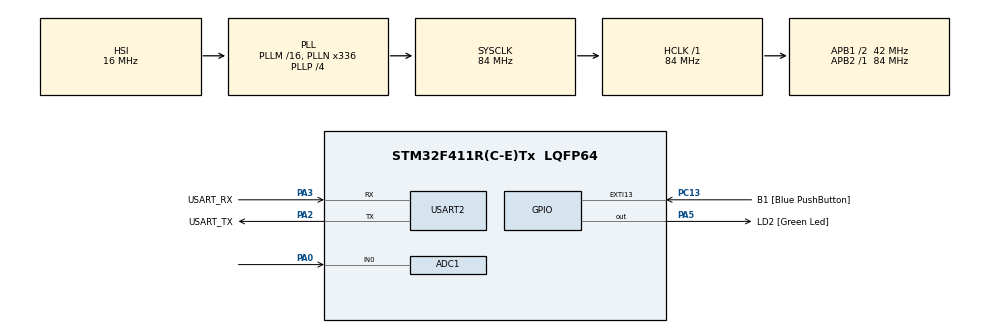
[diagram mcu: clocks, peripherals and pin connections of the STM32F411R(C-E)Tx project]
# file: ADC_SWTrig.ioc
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ADC1.Channel-0\#ChannelRegularConversion=ADC_CHANNEL_0
ADC1.NbrOfConversionFlag=1
ADC1.Rank-0\#ChannelRegularConversion=1
ADC1.SamplingTime-0\#ChannelRegularConversion=ADC_SAMPLETIME_3CYCLES
ADC1.master=1
Mcu.Family=STM32F4
Mcu.Name=STM32F411R(C-E)Tx
Mcu.Package=LQFP64
NVIC.PriorityGroup=NVIC_PRIORITYGROUP_0
NVIC.TIM3_IRQn=true\:0\:0\:false\:false\:true
PA0-WKUP.Signal=ADCx_IN0
PA13.GPIO_Label=TMS
PA13.Signal=SYS_JTMS-SWDIO
PA14.GPIO_Label=TCK
PA14.Signal=SYS_JTCK-SWCLK
PA2.GPIO_Label=USART_TX
PA2.Mode=Asynchronous
PA2.Signal=USART2_TX
PA3.GPIO_Label=USART_RX
PA3.Mode=Asynchronous
PA3.Signal=USART2_RX
PA5.GPIO_Label=LD2 [Green Led]
PA5.Signal=GPIO_Output
PB3.GPIO_Label=SWO
PB3.Signal=SYS_JTDO-SWO
PC13-ANTI_TAMP.GPIO_Label=B1 [Blue PushButton]
PC13-ANTI_TAMP.GPIO_ModeDefaultEXTI=GPIO_MODE_IT_FALLING
PC13-ANTI_TAMP.Signal=GPXTI13
PC14-OSC32_IN.Signal=RCC_OSC32_IN
PC15-OSC32_OUT.Signal=RCC_OSC32_OUT
PH0\ -\ OSC_IN.Signal=RCC_OSC_IN
PH1\ -\ OSC_OUT.Signal=RCC_OSC_OUT
ProjectManager.HeapSize=0x200
ProjectManager.StackSize=0x400
ProjectManager.TargetToolchain=SW4STM32
RCC.48MHZClocksFreq_Value=84000000
RCC.AHBFreq_Value=84000000
RCC.APB1CLKDivider=RCC_HCLK_DIV2
RCC.APB1Freq_Value=42000000
RCC.APB1TimFreq_Value=84000000
RCC.APB2Freq_Value=84000000
RCC.APB2TimFreq_Value=84000000
RCC.CortexFreq_Value=84000000
RCC.FLatency-AdvancedSettings=FLASH_LATENCY_2
RCC.HCLKFreq_Value=84000000
RCC.HSE_VALUE=8000000
RCC.HSI_VALUE=16000000
RCC.LSE_VALUE=32768
RCC.PLLN=336
RCC.PLLP=RCC_PLLP_DIV4
RCC.SYSCLKFreq_VALUE=84000000
RCC.SYSCLKSource=RCC_SYSCLKSOURCE_PLLCLK
RCC.VCOOutputFreq_Value=336000000
SH.ADCx_IN0.0=ADC1_IN0,IN0
TIM3.Period=999
TIM3.Prescaler=8399
VP_TIM3_VS_ClockSourceINT.Mode=Internal
board=NUCLEO-F411RE

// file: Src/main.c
/**
 @file main.c
 @brief Exemplo de uso adc com disparo por software
 @author Marcos Zuccolotto
 @date march,2017
 @version 1.0

Programa utiliza conversao ad por pooling disparada por software

  */
#include "main.h"
#include "stm32f4xx_hal.h"

/* USER CODE BEGIN Includes */
//! Tempo de espera pela conversao ad
#define ADC_TIMEOUT 100
//! tempo de espera da serial
#define SERIAL_TIMEOUT 100
//! Tamanho do buffer de transmissao serial
#define MSG_LENGHT 50

/* USER CODE END Includes */

ADC_HandleTypeDef hadc1;

TIM_HandleTypeDef htim3;

UART_HandleTypeDef huart2;

/* USER CODE BEGIN PV */
/* Private variables ---------------------------------------------------------*/
//! Buffer transmissao serial
uint8_t msg[MSG_LENGHT];
//! Valor de conversao AD
int32_t adcvalue;

//! Pooling do ADC
HAL_StatusTypeDef adstatus;

/* USER CODE END PV */

void SystemClock_Config(void);
void Error_Handler(void);
static void MX_GPIO_Init(void);
static void MX_ADC1_Init(void);
static void MX_TIM3_Init(void);
static void MX_USART2_UART_Init(void);

/* USER CODE BEGIN PFP */
/* Private function prototypes -----------------------------------------------*/

/* USER CODE END PFP */

int main(void)
{

  /* MCU Configuration----------------------------------------------------------*/

  /* Reset of all peripherals, Initializes the Flash interface and the Systick. */
  HAL_Init();

  /* Configure the system clock */
  SystemClock_Config();

  /* Initialize all configured peripherals */
  MX_GPIO_Init();
  MX_ADC1_Init();
  MX_TIM3_Init();
  MX_USART2_UART_Init();

  /* USER CODE BEGIN 2 */
  HAL_TIM_Base_Start_IT(&htim3);

  sprintf(msg,"Exemplo uso ADC com disparo por software \n\r");
  HAL_UART_Transmit(&huart2, msg, strlen(msg),SERIAL_TIMEOUT);

  /* USER CODE END 2 */

  /* Infinite loop */
  while (1)
  {

  /* USER CODE BEGIN 3 */

	  adstatus = HAL_ADC_PollForConversion(&hadc1, ADC_TIMEOUT);
	  if (adstatus==HAL_OK)
	  	  {
		  adcvalue= HAL_ADC_GetValue(&hadc1);
		  sprintf(msg,"%d",adcvalue);
		  HAL_UART_Transmit(&huart2, msg, strlen(msg),SERIAL_TIMEOUT);
	   }

  }
  /* USER CODE END 3 */

}

/** System Clock Configuration
*/
void SystemClock_Config(void)
{

  RCC_OscInitTypeDef RCC_OscInitStruct;
  RCC_ClkInitTypeDef RCC_ClkInitStruct;

    /**Configure the main internal regulator output voltage
    */
  __HAL_RCC_PWR_CLK_ENABLE();

  __HAL_PWR_VOLTAGESCALING_CONFIG(PWR_REGULATOR_VOLTAGE_SCALE1);

    /**Initializes the CPU, AHB and APB busses clocks
    */
  RCC_OscInitStruct.OscillatorType = RCC_OSCILLATORTYPE_HSI;
  RCC_OscInitStruct.HSIState = RCC_HSI_ON;
  RCC_OscInitStruct.HSICalibrationValue = 16;
  RCC_OscInitStruct.PLL.PLLState = RCC_PLL_ON;
  RCC_OscInitStruct.PLL.PLLSource = RCC_PLLSOURCE_HSI;
  RCC_OscInitStruct.PLL.PLLM = 16;
  RCC_OscInitStruct.PLL.PLLN = 336;
  RCC_OscInitStruct.PLL.PLLP = RCC_PLLP_DIV4;
  RCC_OscInitStruct.PLL.PLLQ = 4;
  if (HAL_RCC_OscConfig(&RCC_OscInitStruct) != HAL_OK)
  {
    Error_Handler();
  }

    /**Initializes the CPU, AHB and APB busses clocks
    */
  RCC_ClkInitStruct.ClockType = RCC_CLOCKTYPE_HCLK|RCC_CLOCKTYPE_SYSCLK
                              |RCC_CLOCKTYPE_PCLK1|RCC_CLOCKTYPE_PCLK2;
  RCC_ClkInitStruct.SYSCLKSource = RCC_SYSCLKSOURCE_PLLCLK;
  RCC_ClkInitStruct.AHBCLKDivider = RCC_SYSCLK_DIV1;
  RCC_ClkInitStruct.APB1CLKDivider = RCC_HCLK_DIV2;
  RCC_ClkInitStruct.APB2CLKDivider = RCC_HCLK_DIV1;

  if (HAL_RCC_ClockConfig(&RCC_ClkInitStruct, FLASH_LATENCY_2) != HAL_OK)
  {
    Error_Handler();
  }

    /**Configure the Systick interrupt time
    */
  HAL_SYSTICK_Config(HAL_RCC_GetHCLKFreq()/1000);

    /**Configure the Systick
    */
  HAL_SYSTICK_CLKSourceConfig(SYSTICK_CLKSOURCE_HCLK);

  /* SysTick_IRQn interrupt configuration */
  HAL_NVIC_SetPriority(SysTick_IRQn, 0, 0);
}

/* ADC1 init function */
static void MX_ADC1_Init(void)
{

  ADC_ChannelConfTypeDef sConfig;

    /**Configure the global features of the ADC (Clock, Resolution, Data Alignment and number of conversion)
    */
  hadc1.Instance = ADC1;
  hadc1.Init.ClockPrescaler = ADC_CLOCK_SYNC_PCLK_DIV4;
  hadc1.Init.Resolution = ADC_RESOLUTION_12B;
  hadc1.Init.ScanConvMode = DISABLE;
  hadc1.Init.ContinuousConvMode = DISABLE;
  hadc1.Init.DiscontinuousConvMode = DISABLE;
  hadc1.Init.ExternalTrigConvEdge = ADC_EXTERNALTRIGCONVEDGE_NONE;
  hadc1.Init.ExternalTrigConv = ADC_SOFTWARE_START;
  hadc1.Init.DataAlign = ADC_DATAALIGN_RIGHT;
  hadc1.Init.NbrOfConversion = 1;
  hadc1.Init.DMAContinuousRequests = DISABLE;
  hadc1.Init.EOCSelection = ADC_EOC_SINGLE_CONV;
  if (HAL_ADC_Init(&hadc1) != HAL_OK)
  {
    Error_Handler();
  }

    /**Configure for the selected ADC regular channel its corresponding rank in the sequencer and its sample time.
    */
  sConfig.Channel = ADC_CHANNEL_0;
  sConfig.Rank = 1;
  sConfig.SamplingTime = ADC_SAMPLETIME_3CYCLES;
  if (HAL_ADC_ConfigChannel(&hadc1, &sConfig) != HAL_OK)
  {
    Error_Handler();
  }

}

/* TIM3 init function */
static void MX_TIM3_Init(void)
{

  TIM_ClockConfigTypeDef sClockSourceConfig;
  TIM_MasterConfigTypeDef sMasterConfig;

  htim3.Instance = TIM3;
  htim3.Init.Prescaler = 8399;
  htim3.Init.CounterMode = TIM_COUNTERMODE_UP;
  htim3.Init.Period = 3999;
  htim3.Init.ClockDivision = TIM_CLOCKDIVISION_DIV1;
  if (HAL_TIM_Base_Init(&htim3) != HAL_OK)
  {
    Error_Handler();
  }

  sClockSourceConfig.ClockSource = TIM_CLOCKSOURCE_INTERNAL;
  if (HAL_TIM_ConfigClockSource(&htim3, &sClockSourceConfig) != HAL_OK)
  {
    Error_Handler();
  }

  sMasterConfig.MasterOutputTrigger = TIM_TRGO_RESET;
  sMasterConfig.MasterSlaveMode = TIM_MASTERSLAVEMODE_DISABLE;
  if (HAL_TIMEx_MasterConfigSynchronization(&htim3, &sMasterConfig) != HAL_OK)
  {
    Error_Handler();
  }

}

/* USART2 init function */
static void MX_USART2_UART_Init(void)
{

  huart2.Instance = USART2;
  huart2.Init.BaudRate = 115200;
  huart2.Init.WordLength = UART_WORDLENGTH_8B;
  huart2.Init.StopBits = UART_STOPBITS_1;
  huart2.Init.Parity = UART_PARITY_NONE;
  huart2.Init.Mode = UART_MODE_TX_RX;
  huart2.Init.HwFlowCtl = UART_HWCONTROL_NONE;
  huart2.Init.OverSampling = UART_OVERSAMPLING_16;
  if (HAL_UART_Init(&huart2) != HAL_OK)
  {
    Error_Handler();
  }

}

/** Configure pins as
        * Analog
        * Input
        * Output
        * EVENT_OUT
        * EXTI
*/
static void MX_GPIO_Init(void)
{

  GPIO_InitTypeDef GPIO_InitStruct;

  /* GPIO Ports Clock Enable */
  __HAL_RCC_GPIOC_CLK_ENABLE();
  __HAL_RCC_GPIOH_CLK_ENABLE();
  __HAL_RCC_GPIOA_CLK_ENABLE();
  __HAL_RCC_GPIOB_CLK_ENABLE();

  /*Configure GPIO pin Output Level */
  HAL_GPIO_WritePin(LD2_GPIO_Port, LD2_Pin, GPIO_PIN_RESET);

  /*Configure GPIO pin : B1_Pin */
  GPIO_InitStruct.Pin = B1_Pin;
  GPIO_InitStruct.Mode = GPIO_MODE_IT_FALLING;
  GPIO_InitStruct.Pull = GPIO_NOPULL;
  HAL_GPIO_Init(B1_GPIO_Port, &GPIO_InitStruct);

  /*Configure GPIO pin : LD2_Pin */
  GPIO_InitStruct.Pin = LD2_Pin;
  GPIO_InitStruct.Mode = GPIO_MODE_OUTPUT_PP;
  GPIO_InitStruct.Pull = GPIO_NOPULL;
  GPIO_InitStruct.Speed = GPIO_SPEED_FREQ_LOW;
  HAL_GPIO_Init(LD2_GPIO_Port, &GPIO_InitStruct);

}

/* USER CODE BEGIN 4 */
/**
 * @brief Interrupcao periodica timer 3 - disparo conversao AD
 * @param Handler timer gerou interrupcao
 * @retval nenhum
 *
 *
 */

void HAL_TIM_PeriodElapsedCallback(TIM_HandleTypeDef *htim)
{
	if( htim->Instance==TIM3 ) // testa se a interrupcao foi gerada pelo timer 3
	{
		HAL_GPIO_TogglePin(LD2_GPIO_Port, LD2_Pin);
		HAL_ADC_Start(&hadc1);
	}

}

/* USER CODE END 4 */

void Error_Handler(void)
{
  while(1)
  {
  }
}

/************************ (C) COPYRIGHT STMicroelectronics *****END OF FILE****/
